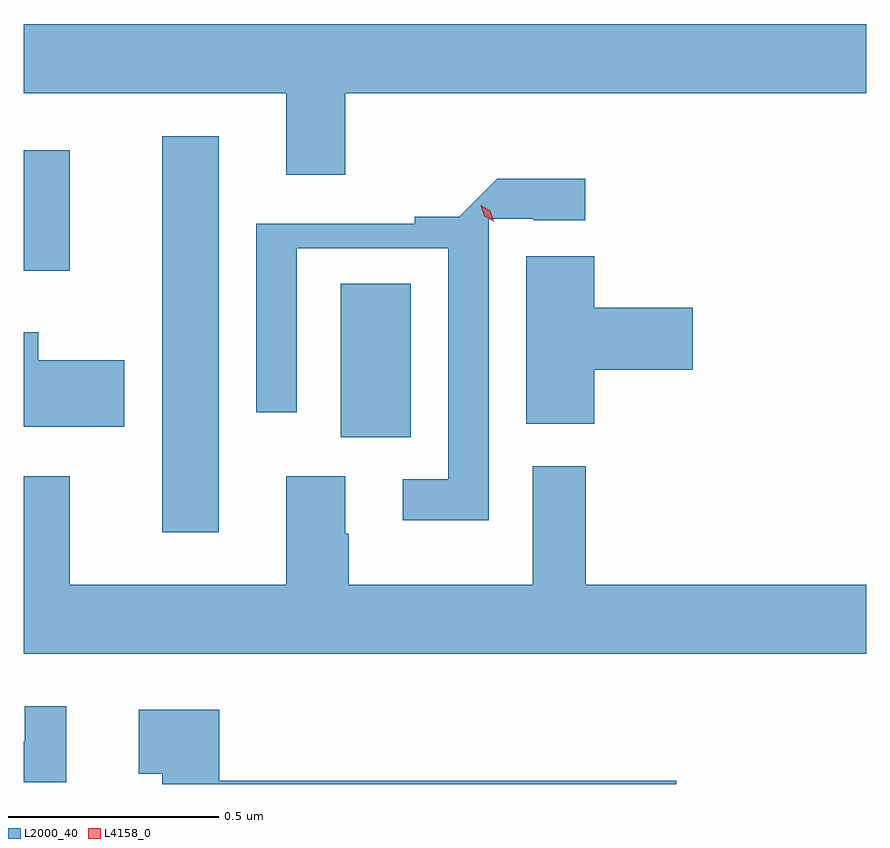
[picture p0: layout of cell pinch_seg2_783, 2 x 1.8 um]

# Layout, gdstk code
import gdstk
lib = gdstk.Library(unit=1e-6, precision=1e-09)
def R(c, l, rs):  # rectangles x0, y0, x1, y1
    for r in rs: c.add(gdstk.rectangle(r[:2], r[2:], *l))
def P(c, l, *ps):  # polygons
    for p in ps: c.add(gdstk.Polygon(p, *l))
L2000_40 = (2000, 40)
L4158_0 = (4158, 0)

pinch_seg2_783 = lib.new_cell('pinch_seg2_783')
R(pinch_seg2_783, L2000_40, [(670.856,657.249,670.99,658.189), (671.279,657.474,671.446,657.839), (670.527,657.87,670.636,658.156)])
P(pinch_seg2_783, L2000_40, [(671.29,658.292),(672.527,658.292),(672.527,658.456),(670.527,658.456),(670.527,658.292),(671.15,658.292),(671.15,658.098),(671.29,658.098)],
  [(671.631,657.993),(671.738,657.993),(671.738,657.99),(671.86,657.99),(671.86,658.088),(671.651,658.088),(671.561,657.998),(671.455,657.998),(671.455,657.982),(671.079,657.982),(671.079,657.534),(671.175,657.534),(671.175,657.924),(671.535,657.924),(671.535,657.375),(671.427,657.375),(671.427,657.278),(671.631,657.278)],
  [(671.882,657.635),(672.115,657.635),(672.115,657.782),(671.882,657.782),(671.882,657.905),(671.72,657.905),(671.72,657.507),(671.882,657.507)],
  [(670.765,657.658),(670.561,657.658),(670.561,657.724),(670.527,657.724),(670.527,657.5),(670.765,657.5)],
  [(672.527,657.124),(671.861,657.124),(671.861,657.406),(671.735,657.406),(671.735,657.124),(671.298,657.124),(671.298,657.245),(671.29,657.245),(671.29,657.382),(671.15,657.382),(671.15,657.124),(670.636,657.124),(670.636,657.382),(670.527,657.382),(670.527,656.96),(672.527,656.96)],
  [(670.627,656.836),(670.529,656.836),(670.529,656.751),(670.527,656.751),(670.527,656.655),(670.627,656.655)],
  [(672.076,656.659),(670.991,656.659),(670.991,656.827),(670.8,656.827),(670.8,656.675),(670.856,656.675),(670.856,656.651),(672.076,656.651)])
P(pinch_seg2_783, L4158_0, [(671.643,657.987),(671.62,657.999),(671.612,658.024),(671.612,658.025),(671.612,658.025),(671.635,658.012),(671.643,657.988),(671.643,657.987)])

lib.write_gds('pinch_seg2_783.gds')
